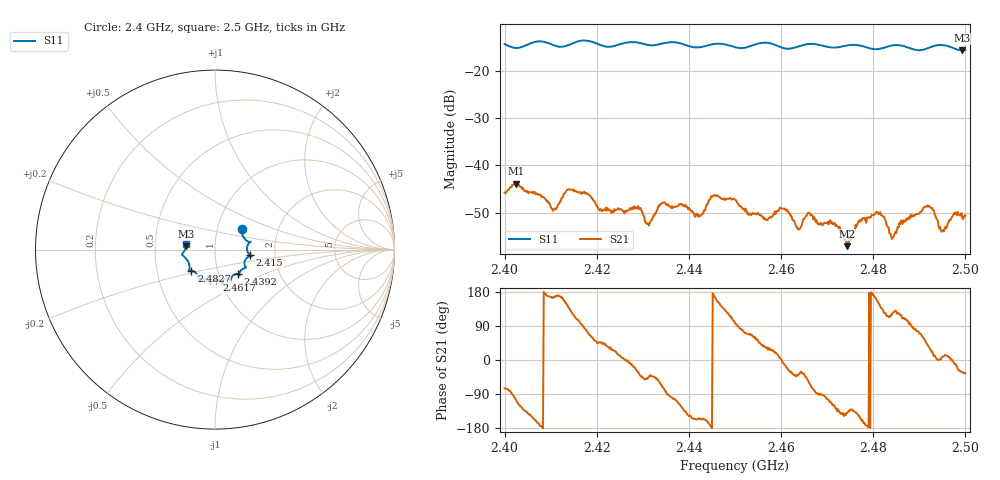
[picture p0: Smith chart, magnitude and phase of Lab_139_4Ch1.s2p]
# Hz S RI R 50
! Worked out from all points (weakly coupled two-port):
!   601 points, 2.4 GHz to 2.5 GHz, reference 50 ohm
!   highest |S21| = -43.85 dB at 2.4025 GHz (marker M1); lowest = -57.0 dB at 2.4743 GHz (marker M2)
!   lowest |S11| = -15.7 dB at 2.4993 GHz (marker M3), VSWR 1.39, Z = 36 + j1.43 ohm
!   |S11| at or under -10 dB: start of sweep to end of sweep
!   S12 and S22 are empty: the file has one direction only
!   S11 on the Smith chart (normalised r, x): 2.4 GHz: 1.31, +0.31; 2.415 GHz: 1.48, -0.10; 2.4392 GHz: 1.24, -0.35; 2.4617 GHz: 0.96, -0.34; 2.4827 GHz: 0.75, -0.18; 2.5 GHz: 0.72, +0.05
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2.4e9  0.1514 0.1151  0.00133 -0.00499  0 0  0 0
2.4025e9  0.156 0.0747  -0.00178 -0.00617  0 0  0 0
2.410667e9  0.1829 0.0267  -0.00332 0.000857  0 0  0 0
2.415e9  0.1935 -0.0319  -0.00251 0.00471  0 0  0 0
2.416667e9  0.2034 -0.0385  -0.000287 0.00502  0 0  0 0
2.431e9  0.1502 -0.1105  0.00156 -0.00186  0 0  0 0
2.433333e9  0.1365 -0.1302  0.00222 -0.00296  0 0  0 0
2.439167e9  0.1281 -0.1357  -0.0026 -0.00259  0 0  0 0
2.442333e9  0.0984 -0.1462  -0.00266 -0.0012  0 0  0 0
2.45e9  0.0711 -0.1616  -0.000612 0.00431  0 0  0 0
2.456667e9  0.0437 -0.1922  0.00227 0.00149  0 0  0 0
2.461667e9  0.00812 -0.1699  0.00283 -0.00147  0 0  0 0
2.463833e9  -0.0189 -0.1794  0.00171 -0.00131  0 0  0 0
2.466667e9  -0.0268 -0.1894  0.000873 -0.0029  0 0  0 0
2.474333e9  -0.0819 -0.165  -0.00108 -0.000903  0 0  0 0
2.4775e9  -0.0916 -0.1573  -0.00248 -0.000886  0 0  0 0
2.482667e9  -0.1318 -0.1176  -0.00145 0.00221  0 0  0 0
2.483333e9  -0.1375 -0.117  -0.000884 0.00205  0 0  0 0
2.491667e9  -0.1647 -0.0463  0.00272 0.00247  0 0  0 0
2.494833e9  -0.1841 -0.0276  0.00199 0.000243  0 0  0 0
2.499333e9  -0.1621 0.0193  0.00232 -0.0015  0 0  0 0
2.5e9  -0.1619 0.0314  0.00244 -0.0017  0 0  0 0
